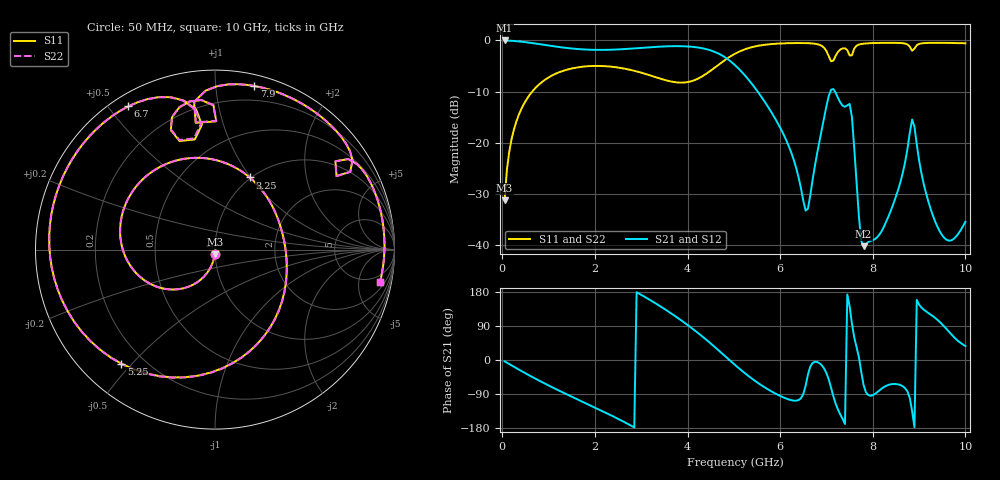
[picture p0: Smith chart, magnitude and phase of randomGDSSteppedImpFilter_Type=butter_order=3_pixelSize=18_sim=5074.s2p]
! freq	dB(S11)	phase(S11)	dB(S12)	phase(S12)
!  dB(S21)	phase(S21)	dB(S22)	phase(S22)
!S-par simulation data
#  GHz  S  DB  R 50
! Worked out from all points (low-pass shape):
!   200 points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, 50 MHz to 10 GHz, reference 50 ohm
!   highest |S21| = -0.01 dB at 50 MHz (marker M1); lowest = -40.3 dB at 7.8 GHz (marker M2)
!   |S21| within 3 dB of the highest: start of sweep to 4.757 GHz
!   lowest |S11| = -31.3 dB at 50 MHz (marker M3), VSWR 1.06, Z = 49.8 - j2.72 ohm
!   |S11| at or under -10 dB: start of sweep to 647.3 MHz
!   |S22| runs from -31.3 to -0.5 dB; largest |S21 - S12| = 0
!   S11 on the Smith chart (normalised r, x): 50 MHz: 1.00, -0.05; 3.25 GHz: 0.99, +0.99; 5.25 GHz: 0.12, -0.47; 6.7 GHz: 0.05, +0.56; 7.9 GHz: 0.08, +1.27; 10 GHz: 3.19, -9.32
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0.05  -31.26 -93.6  -0.01 -3.6  -0.01 -3.6  -31.26 -93.6
0.2  -19.35 -104.6  -0.07 -14.3  -0.07 -14.3  -19.35 -104.6
0.5  -11.90 -125.5  -0.34 -35.0  -0.34 -35.0  -11.90 -125.5
1.75  -5.13 158.5  -1.76 -111.1  -1.76 -111.1  -5.13 158.5
2.6  -5.45 108.4  -1.72 -161.5  -1.72 -161.5  -5.45 108.4
3.25  -7.01 64.3  -1.30 154.0  -1.30 154.0  -7.01 64.3
3.4  -7.44 53.0  -1.22 142.6  -1.22 142.6  -7.44 53.0
4.15  -7.78 -12.0  -1.30 78.6  -1.30 78.6  -7.77 -11.7
4.65  -4.89 -64.4  -2.50 27.6  -2.50 27.6  -4.89 -64.0
5.05  -2.49 -108.6  -5.05 -15.7  -5.05 -15.7  -2.49 -108.2
5.25  -1.70 -129.4  -6.96 -36.0  -6.96 -36.0  -1.70 -129.0
5.9  -0.66 174.8  -15.41 -88.7  -15.41 -88.7  -0.66 175.1
6.55  -0.53 131.2  -33.29 -67.8  -33.29 -67.8  -0.53 131.5
6.7  -0.60 121.2  -27.32 -7.9  -27.32 -7.9  -0.60 121.5
7.1  -4.10 100.4  -9.64 -73.4  -9.64 -73.4  -4.01 100.6
7.5  -2.92 89.4  -12.43 142.0  -12.43 142.0  -2.89 89.5
7.8  -0.63 82.3  -40.26 -65.0  -40.26 -65.0  -0.63 82.3
7.9  -0.56 76.4  -39.45 -92.2  -39.45 -92.2  -0.56 76.4
8.35  -0.47 53.8  -34.20 -65.2  -34.20 -65.2  -0.47 53.8
8.85  -2.03 31.2  -15.47 -135.3  -15.47 -135.3  -2.04 31.2
9.45  -0.47 10.3  -37.41 100.0  -37.41 100.0  -0.47 10.3
10  -0.57 -11.0  -35.47 36.8  -35.47 36.8  -0.57 -11.0
